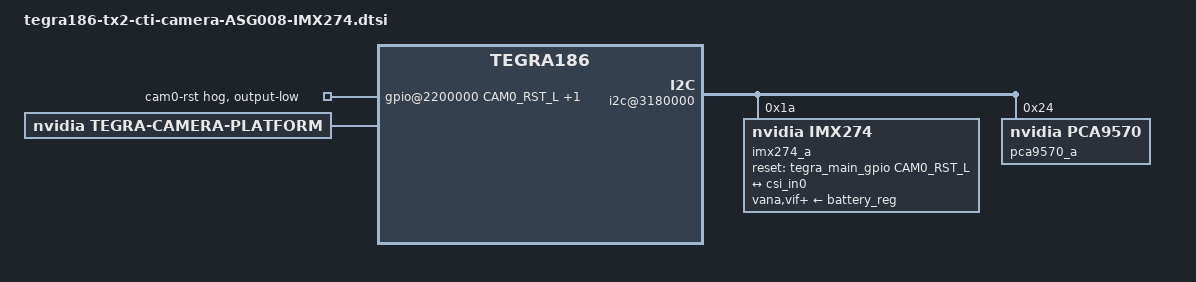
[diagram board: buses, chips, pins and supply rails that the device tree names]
    

#include <t18x-common-platforms/tegra186-tx2-cti-camera-base.dtsi>
#include "dt-bindings/clock/tegra186-clock.h"


/* camera control gpio definitions */

#define CAM0_RST_L  TEGRA_MAIN_GPIO(R, 5)
#define CAM0_PWDN   TEGRA_MAIN_GPIO(R, 0)


/ {
    
    gpio@2200000 {
        camera-control-output-low {
            gpio-hog;
            output-low;
            gpios = <CAM0_RST_L 0 CAM0_PWDN 0>;
            label = "cam0-rst", "cam0-pwdn";
        };
    };


/**********************SENSORS******************************************************************/

	i2c@3180000 {   
        imx274_a@1a {
            compatible = "nvidia,imx274";
            reg = <0x1a>;
            devnode = "video0";

            /* Physical dimensions of sensor */
            physical_w = "3.674";
            physical_h = "2.738";
            clocks = <&tegra_car TEGRA186_CLK_EXTPERIPH1>,
                     <&tegra_car TEGRA186_CLK_PLLP_OUT0>;
            clock-names = "extperiph1", "pllp_grtba";
            mclk = "extperiph1";
            sensor_model = "imx274";
            delayed_gain = "true";
            reset-gpios = <&tegra_main_gpio CAM0_RST_L GPIO_ACTIVE_HIGH>;
            vana-supply = <&battery_reg>;
            vif-supply = <&battery_reg>;
            vdig-supply = <&battery_reg>;
            avdd-reg = "vana";
            iovdd-reg = "vif";
            dvdd-reg = "vdig";

            mode0 {
                mclk_khz = "24000";
                num_lanes = "4";
                tegra_sinterface = "serial_a";
                discontinuous_clk = "yes";
                dpcm_enable = "false";
                cil_settletime = "0";

                active_w = "3840";
                active_h = "2160";
                pixel_t = "bayer_rggb";
                readout_orientation = "90";
                line_length = "4200";
                inherent_gain = "1";
                mclk_multiplier = "24";
                pix_clk_hz = "576000000";

                min_gain_val = "1.0";
                max_gain_val = "180";
                min_hdr_ratio = "1";
                max_hdr_ratio = "64";
                min_framerate = "1.462526";
                max_framerate = "60";
                min_exp_time = "16.165";
                max_exp_time = "165770";
                //embedded_metadata_height = "1";
            };
            mode1 { // IMX274_MODE_1920X1080
                mclk_khz = "24000";
                num_lanes = "4";
                tegra_sinterface = "serial_a";
                discontinuous_clk = "yes";
                dpcm_enable = "false";
                cil_settletime = "0";

                active_w = "1920";
                active_h = "1080";
                pixel_t = "bayer_rggb";
                readout_orientation = "90";
                line_length = "4200";
                inherent_gain = "1";
                mclk_multiplier = "24";
                pix_clk_hz = "576000000";

                min_gain_val = "1.0";
                max_gain_val = "180";
                min_hdr_ratio = "1";
                max_hdr_ratio = "64";
                min_framerate = "1.462526";
                max_framerate = "60";
                min_exp_time = "16.165";
                max_exp_time = "165770";
//                  embedded_metadata_height = "1";
            };
            mode2 { // IMX274_MODE_1280X720
                mclk_khz = "24000";
                num_lanes = "4";
                tegra_sinterface = "serial_a";
                discontinuous_clk = "yes";
                dpcm_enable = "false";
                cil_settletime = "0";

                active_w = "1280";
                active_h = "720";
                pixel_t = "bayer_rggb";
                readout_orientation = "90";
                line_length = "4200";
                inherent_gain = "1";
                mclk_multiplier = "24";
                pix_clk_hz = "576000000";

                min_gain_val = "1.0";
                max_gain_val = "180";
                min_hdr_ratio = "1";
                max_hdr_ratio = "64";
                min_framerate = "1.462526";
                max_framerate = "60";
                min_exp_time = "16.165";
                max_exp_time = "165770";
//                  embedded_metadata_height = "1";
            };

            mode3 { // IMX274_MODE_1280X540
                mclk_khz = "24000";
                num_lanes = "4";
                tegra_sinterface = "serial_a";
                discontinuous_clk = "yes";
                dpcm_enable = "false";
                cil_settletime = "0";

                active_w = "1280";
                active_h = "540";
                pixel_t = "bayer_rggb";
                readout_orientation = "90";
                line_length = "4200";
                inherent_gain = "1";
                mclk_multiplier = "24";
                pix_clk_hz = "576000000";

                min_gain_val = "1.0";
                max_gain_val = "180";
                min_hdr_ratio = "1";
                max_hdr_ratio = "64";
                min_framerate = "1.462526";
                max_framerate = "60";
                min_exp_time = "16.165";
                max_exp_time = "165770";
//                  embedded_metadata_height = "1";
            };


            ports {
                #address-cells = <1>;
                #size-cells = <0>;

                port@0 {
                    reg = <0>;
                    imx274_out0: endpoint {
                        csi-port = <0>;
                        bus-width = <4>;
                        remote-endpoint = <&csi_in0>;
                    };
                };
            };
        };

        pca9570_a@24 {
            compatible = "nvidia,pca9570";
            reg = <0x24>;
            channel = "a";
            drive_ic= "DRV8838";
        };

    };

/**********************VI******************************************************************/

     host1x {
        vi@15700000 {
            num-channels = <1>; //set number of channels
            status = "okay";
            ports {
                port@0 {
                    status = "okay";
                    endpoint {
                        status = "okay";
                        csi-port = <0>;
                        bus-width = <4>;
                        remote-endpoint = <&csi_out0>; 
                    };
                };
            };
        }; 

/**********************CSI******************************************************************/
        nvcsi@150c0000 {
            num-channels = <1>;

            channel@0 {
                status = "okay";
                ports {
                     port@0 {
                        status = "okay";
                        endpoint@0 {
                            csi-port = <0>;
                            bus-width = <4>;
                            remote-endpoint = <&imx274_out0>; //should be sensor port under i2c endpoint
                            status = "okay";

                        };
                    };
                    port@1 {
                        status = "okay";
                        endpoint@1 {
                            status = "okay";
                            remote-endpoint = <&vi_in0>; 
                        };
                    };
                };
            };
        };
    };
    lens_imx274@A6V26 {
        min_focus_distance = "0.0";
        hyper_focal = "0.0";
        focal_length = "5.00";
        f_number = "2.0";
        aperture = "2.2";
    };

/**********************CAMERA PLATFORM*************************************************************/

    tegra-camera-platform {
        compatible = "nvidia, tegra-camera-platform";
        /**
        * Physical settings to calculate max ISO BW
        *
        * num_csi_lanes = <>;
        * Total number of CSI lanes when all cameras are active
        *
        * max_lane_speed = <>;
        * Max lane speed in Kbit/s
        *
        * min_bits_per_pixel = <>;
        * Min bits per pixel
        *
        * vi_peak_byte_per_pixel = <>;
        * Max byte per pixel for the VI ISO case
        *
        * vi_bw_margin_pct = <>;
        * Vi bandwidth margin in percentage
        *
        * max_pixel_rate = <>;
        * Max pixel rate in Kpixel/s for the ISP ISO case
        * Set this to the highest pix_clk_hz out of all available modes.
        *
        * isp_peak_byte_per_pixel = <>;
        * Max byte per pixel for the ISP ISO case
        *
        * isp_bw_margin_pct = <>;
        * Isp bandwidth margin in percentage
        */
        num_csi_lanes = <4>;
        max_lane_speed = <1500000>;
        min_bits_per_pixel = <10>;
        vi_peak_byte_per_pixel = <2>;
        vi_bw_margin_pct = <25>;
        max_pixel_rate = <750000>;
        isp_peak_byte_per_pixel = <5>;
        isp_bw_margin_pct = <25>;

        /**
        * The general guideline for naming badge_info contains 3 parts, and is as follows,
        * The first part is the camera_board_id for the module; if the module is in a FFD
        * platform, then use the platform name for this part.
        * The second part contains the position of the module, ex. “rear” or “front”.
        * The third part contains the last 6 characters of a part number which is found
        * in the module's specsheet from the vender.
        */
        modules {

            module0 {
                badge = "imx274_bottom_A6V26";
                position = "bottom";
                orientation = "0";
                status = "okay";
                drivernode0 {
                    status = "okay";
                    pcl_id = "v4l2_sensor";
                    devname = "imx274 2-001a";
                    proc-device-tree = "/proc/device-tree/i2c@3180000/imx274_a@1a";
                };
                drivernode1 {
                    status = "okay";
                    pcl_id = "v4l2_lens";
                    proc-device-tree = "/proc/device-tree/lens_imx274@A6V26/";
                };
            };
        };
    };
};
